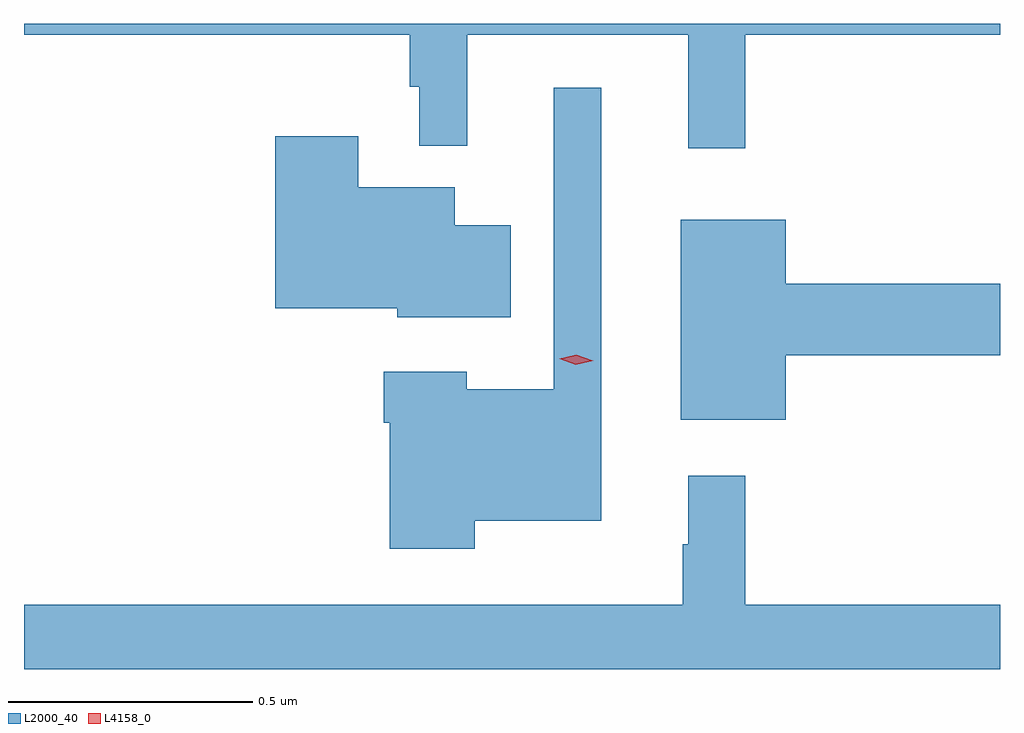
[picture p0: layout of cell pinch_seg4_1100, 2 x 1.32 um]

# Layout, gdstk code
import gdstk
lib = gdstk.Library(unit=1e-6, precision=1e-09)
def P(c, l, *ps):  # polygons
    for p in ps: c.add(gdstk.Polygon(p, *l))
L2000_40 = (2000, 40)
L4158_0 = (4158, 0)

pinch_seg4_1100 = lib.new_cell('pinch_seg4_1100')
P(pinch_seg4_1100, L2000_40, [(886.019,750.2),(886.541,750.2),(886.541,750.222),(884.541,750.222),(884.541,750.2),(885.331,750.2),(885.331,750.093),(885.351,750.093),(885.351,749.972),(885.449,749.972),(885.449,750.2),(885.902,750.2),(885.902,749.967),(886.019,749.967)],
  [(885.465,749.204),(885.724,749.204),(885.724,750.091),(885.627,750.091),(885.627,749.473),(885.448,749.473),(885.448,749.509),(885.278,749.509),(885.278,749.405),(885.29,749.405),(885.29,749.147),(885.465,749.147)],
  [(885.538,749.809),(885.424,749.809),(885.424,749.887),(885.226,749.887),(885.226,749.992),(885.056,749.992),(885.056,749.639),(885.306,749.639),(885.306,749.621),(885.538,749.621)],
  [(886.102,749.543),(886.541,749.543),(886.541,749.69),(886.102,749.69),(886.102,749.821),(885.887,749.821),(885.887,749.411),(886.102,749.411)],
  [(886.541,749.032),(886.019,749.032),(886.019,749.296),(885.902,749.296),(885.902,749.156),(885.891,749.156),(885.891,749.032),(884.541,749.032),(884.541,748.9),(886.541,748.9)])
P(pinch_seg4_1100, L4158_0, [(885.672,749.524),(885.638,749.536),(885.637,749.536),(885.638,749.536),(885.673,749.544),(885.708,749.532),(885.708,749.532),(885.708,749.532)])

lib.write_gds('pinch_seg4_1100.gds')
